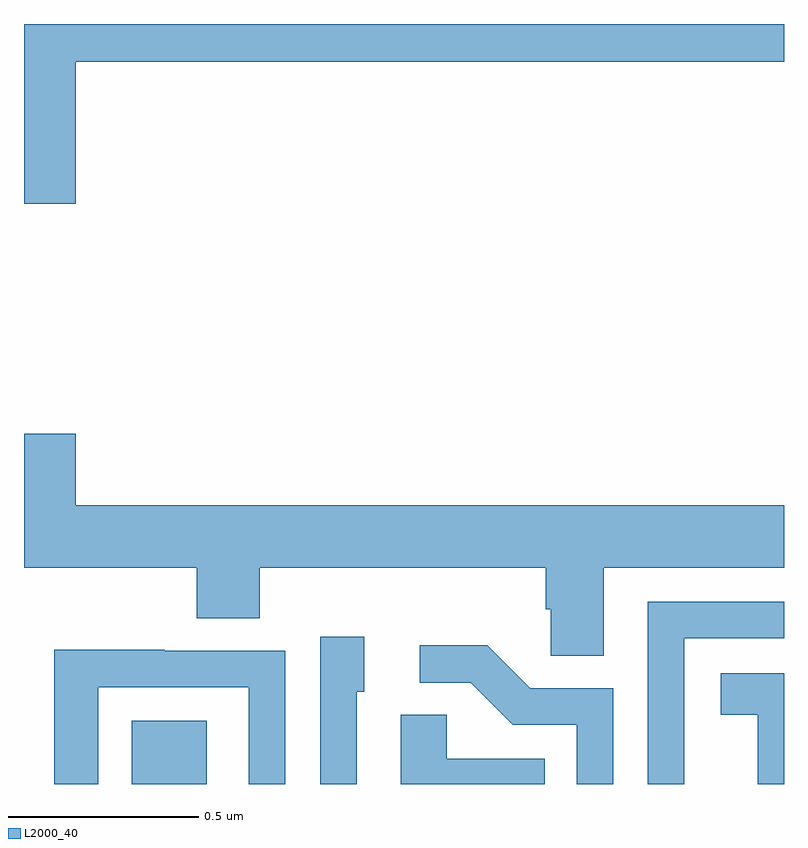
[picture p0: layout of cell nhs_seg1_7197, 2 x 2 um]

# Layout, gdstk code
import gdstk
lib = gdstk.Library(unit=1e-6, precision=1e-09)
def R(c, l, rs):  # rectangles x0, y0, x1, y1
    for r in rs: c.add(gdstk.rectangle(r[:2], r[2:], *l))
def P(c, l, *ps):  # polygons
    for p in ps: c.add(gdstk.Polygon(p, *l))
L2000_40 = (2000, 40)

nhs_seg1_7197 = lib.new_cell('nhs_seg1_7197')
R(nhs_seg1_7197, L2000_40, [(201.284,515.199,201.481,515.365)])
P(nhs_seg1_7197, L2000_40, [(201.136,517.1),(203,517.1),(203,517.199),(201,517.199),(201,516.726),(201.136,516.726)],
  [(202.525,515.768),(203,515.768),(203,515.932),(201.136,515.932),(201.136,516.121),(201,516.121),(201,515.768),(201.455,515.768),(201.455,515.635),(201.62,515.635),(201.62,515.768),(202.373,515.768),(202.373,515.659),(202.386,515.659),(202.386,515.536),(202.525,515.536)],
  [(202.737,515.583),(203,515.583),(203,515.679),(202.641,515.679),(202.641,515.199),(202.737,515.199)],
  [(201.876,515.442),(201.895,515.442),(201.895,515.587),(201.78,515.587),(201.78,515.199),(201.876,515.199)],
  [(202.551,515.451),(202.332,515.451),(202.219,515.564),(202.041,515.564),(202.041,515.466),(202.175,515.466),(202.286,515.355),(202.455,515.355),(202.455,515.199),(202.551,515.199)],
  [(201.195,515.454),(201.591,515.454),(201.591,515.199),(201.687,515.199),(201.687,515.55),(201.371,515.55),(201.371,515.552),(201.079,515.552),(201.079,515.199),(201.195,515.199)],
  [(203,515.491),(202.833,515.491),(202.833,515.381),(202.931,515.381),(202.931,515.199),(203,515.199)],
  [(202.37,515.266),(202.113,515.266),(202.113,515.381),(201.992,515.381),(201.992,515.199),(202.37,515.199)])

lib.write_gds('nhs_seg1_7197.gds')
